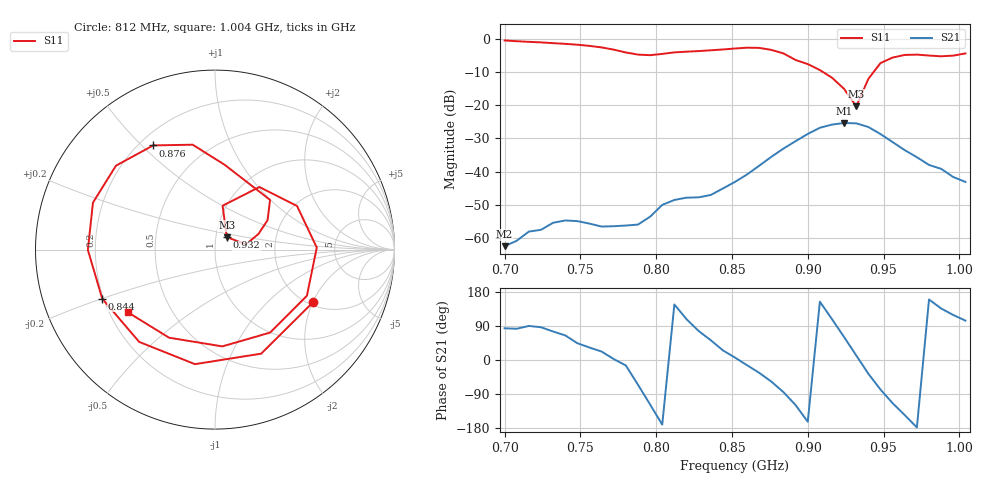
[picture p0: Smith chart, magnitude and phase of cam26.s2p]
# Hz S RI R 50
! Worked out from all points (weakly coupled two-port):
!   39 points, 700 MHz to 1.004 GHz, reference 50 ohm
!   highest |S21| = -25.38 dB at 924 MHz (marker M1); lowest = -62.4 dB at 700 MHz (marker M2)
!   lowest |S11| = -20.4 dB at 932 MHz (marker M3), VSWR 1.21, Z = 56.4 + j7.91 ohm
!   |S11| at or under -10 dB: 909.8 MHz to 943.6 MHz (33.75 MHz wide, 3.64 % of centre)
!   S12 and S22 are empty: the file has one direction only
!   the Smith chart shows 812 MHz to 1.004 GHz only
!   S11 on the Smith chart (normalised r, x): 812 MHz: 2.10, -2.01; 844 MHz: 0.19, -0.20; 876 MHz: 0.25, +0.54; 932 MHz: 1.13, +0.16; 1.004 GHz: 0.28, -0.30
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7e8  0.7693 0.5323  8.38e-05 0.000755  0 0  0 0
7.24e8  0.8348 -0.2627  8.35e-05 0.00133  0 0  0 0
7.4e8  0.4439 -0.7036  0.000784 0.00167  0 0  0 0
7.56e8  -0.1948 -0.7502  0.00139 0.0009  0 0  0 0
7.72e8  -0.6532 -0.1929  0.00151 6.59e-05  0 0  0 0
7.8e8  -0.5755 0.224  0.0015 -0.000389  0 0  0 0
7.88e8  -0.2272 0.5264  0.000668 -0.00146  0 0  0 0
7.96e8  0.251 0.5029  -0.000971 -0.00187  0 0  0 0
8.04e8  0.5676 0.1526  -0.00312 -0.000526  0 0  0 0
8.12e8  0.5455 -0.2939  -0.00314 0.00207  0 0  0 0
8.28e8  -0.1117 -0.6382  0.000953 0.004  0 0  0 0
8.44e8  -0.6281 -0.2735  0.00505 0.0024  0 0  0 0
8.52e8  -0.7084 -0.00175  0.00698 0.000781  0 0  0 0
8.76e8  -0.3445 0.5805  0.0091 -0.014  0 0  0 0
9e8  0.3068 0.2769  -0.0352 -0.0108  0 0  0 0
9.08e8  0.2929 0.1643  -0.041 0.0201  0 0  0 0
9.24e8  0.1726 0.0292  0.0266 0.0468  0 0  0 0
9.32e8  0.0657 0.0694  0.052 0.011  0 0  0 0
9.4e8  0.0423 0.2445  0.0377 -0.0278  0 0  0 0
9.56e8  0.4573 0.2427  -0.0113 -0.0254  0 0  0 0
9.8e8  0.3071 -0.4623  -0.0118 0.00437  0 0  0 0
1.004e9  -0.4846 -0.3498  -0.0017 0.00681  0 0  0 0
